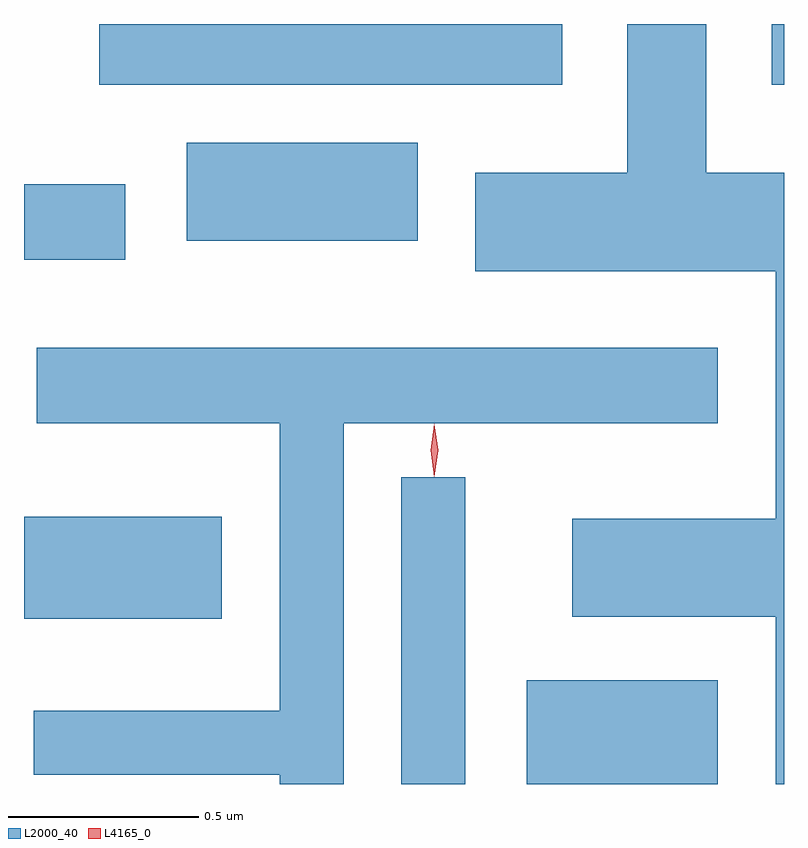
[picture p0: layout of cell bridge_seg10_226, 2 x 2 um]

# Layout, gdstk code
import gdstk
lib = gdstk.Library(unit=1e-6, precision=1e-09)
def R(c, l, rs):  # rectangles x0, y0, x1, y1
    for r in rs: c.add(gdstk.rectangle(r[:2], r[2:], *l))
def P(c, l, *ps):  # polygons
    for p in ps: c.add(gdstk.Polygon(p, *l))
L2000_40 = (2000, 40)
L4165_0 = (4165, 0)

bridge_seg10_226 = lib.new_cell('bridge_seg10_226')
R(bridge_seg10_226, L2000_40, [(1727.401,2141.366,1727.569,2142.173), (1727.731,2141.366,1728.234,2141.639), (1726.408,2141.801,1726.929,2142.069), (1726.408,2142.746,1726.674,2142.944), (1726.836,2142.796,1727.444,2143.054), (1726.606,2143.206,1727.824,2143.366), (1728.376,2143.206,1728.408,2143.366)])
P(bridge_seg10_226, L2000_40, [(1728.408,2142.974),(1728.204,2142.974),(1728.204,2143.366),(1727.996,2143.366),(1727.996,2142.974),(1727.596,2142.974),(1727.596,2142.716),(1728.386,2142.716),(1728.386,2142.064),(1727.851,2142.064),(1727.851,2141.806),(1728.386,2141.806),(1728.386,2141.366),(1728.408,2141.366)],
  [(1727.249,2142.316),(1728.234,2142.316),(1728.234,2142.514),(1726.441,2142.514),(1726.441,2142.316),(1727.081,2142.316),(1727.081,2141.559),(1726.433,2141.559),(1726.433,2141.391),(1727.081,2141.391),(1727.081,2141.366),(1727.249,2141.366)])
P(bridge_seg10_226, L4165_0, [(1727.487,2142.178),(1727.478,2142.244),(1727.487,2142.311),(1727.488,2142.311),(1727.488,2142.311),(1727.498,2142.244),(1727.488,2142.178),(1727.488,2142.178)],
  [(1727.488,2142.174),(1727.487,2142.175),(1727.478,2142.244),(1727.487,2142.313),(1727.488,2142.314),(1727.488,2142.313),(1727.498,2142.244),(1727.488,2142.175)])

lib.write_gds('bridge_seg10_226.gds')
